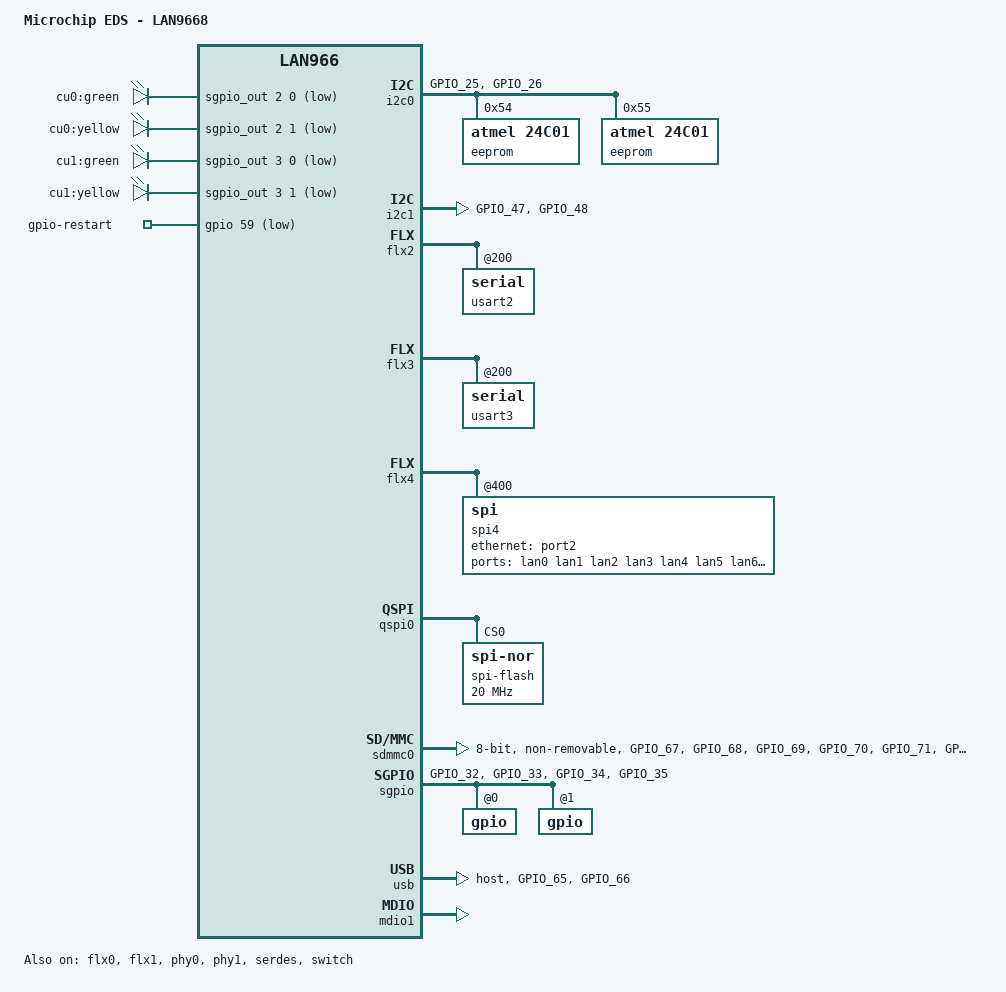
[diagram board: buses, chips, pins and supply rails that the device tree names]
// SPDX-License-Identifier: (GPL-2.0+ OR MIT)
/*
 * lan966x-pcb8385-lan9645x.dts - Device Tree file for LAN966X-PCB8385 board
 * driving Lan9645x on FPGA.
 *
 * Copyright (C) 2022 Microchip Technology Inc. and its subsidiaries
 *
 * Author: Horatiu Vultur <horatiu.vultur@microchip.com>
 * Author: Jerry Ray <jerry.ray@microchip.com>
 */
/dts-v1/;

#include "lan966x.dtsi"
#include "dt-bindings/phy/phy-lan966x-serdes.h"
#include "dt-bindings/phy/phy-lan9645x-serdes.h"

/ {
	model = "Microchip EDS - LAN9668";
	compatible = "microchip,lan9668-pcb8385", "microchip,lan9668", "microchip,lan966";

	lan9645x_clock: lan9645x-clock {
		compatible = "fixed-clock";
		#clock-cells = <0>;
		clock-frequency = <165625000>;
	};

	chosen {
		stdout-path = "serial0:115200n8";
	};

	aliases {
		serial0 = &usart3;
		serial1 = &usart2;
		i2c_sfp0 = &i2c_sfp0;
		i2c_sfp1 = &i2c_sfp1;
	};

	leds {
		compatible = "gpio-leds";

		led-p1-green {
			label = "cu0:green";
			gpios = <&sgpio_out 2 0 GPIO_ACTIVE_LOW>;
			default-state = "off";
			linux,default-trigger = "e200413c.mdio-mii:01:link";
		};

		led-p1-yellow {
			label = "cu0:yellow";
			gpios = <&sgpio_out 2 1 GPIO_ACTIVE_LOW>;
			default-state = "off";
		};

		led-p2-green {
			label = "cu1:green";
			gpios = <&sgpio_out 3 0 GPIO_ACTIVE_LOW>;
			default-state = "off";
			linux,default-trigger = "e200413c.mdio-mii:02:link";
		};

		led-p2-yellow {
			label = "cu1:yellow";
			gpios = <&sgpio_out 3 1 GPIO_ACTIVE_LOW>;
			default-state = "off";
		};
	};

	gpio-restart {
		compatible = "gpio-restart";
		gpios = <&gpio 59 GPIO_ACTIVE_LOW>;
		open-source;
		priority = <200>;
	};
};

&aes {
	status = "disabled"; /* Reserved by secure OS */
};

&gpio {
	emmc_sd_pins: emmc-sd-pins {
		/* eMMC_SD - CMD, CLK, D0, D1, D2, D3, RSTN */
		pins = "GPIO_67", "GPIO_68", "GPIO_69", "GPIO_70",
			"GPIO_71", "GPIO_72", "GPIO_77";
		function = "emmc_sd";
	};

	emmc_pins: emmc-pins {
		/* eMMC - D4, D5, D6, D7 */
		pins = "GPIO_73", "GPIO_74", "GPIO_75", "GPIO_76";
		function = "emmc";
	};

	fc0_b_pins: fc0-b-pins {
		/* SCL, SDA */
		pins = "GPIO_25", "GPIO_26";
		function = "fc0_b";
	};

	fc1_c_pins: fc1-c-pins {
		/* SCL, SDA */
		pins = "GPIO_47", "GPIO_48";
		function = "fc1_c";
	};

	fc2_b_pins: fc2-b-pins {
		/* RX, TX */
		pins = "GPIO_44", "GPIO_45";
		function = "fc2_b";
	};

	fc3_b_pins: fc3-b-pins {
		/* RX, TX */
		pins = "GPIO_52", "GPIO_53";
		function = "fc3_b";
	};

	fc4_b_pins: fc4-b-pins {
		/* SCK, MISO, MOSI */
		pins = "GPIO_56", "GPIO_57", "GPIO_58";
		function = "fc4_b";
	};

	fc_shrd13_pins: fc-shrd13-pins {
		pins = "GPIO_62";
		function = "fc_shrd13";
	};

    fc_shrd7_pins: fc-shrd7-pins {
        pins = "GPIO_49";
		function = "fc_shrd7";
    };

	sgpio_a_pins: sgpio-a-pins {
		/* SCK, D0, D1, LD */
		pins = "GPIO_32", "GPIO_33", "GPIO_34", "GPIO_35";
		function = "sgpio_a";
	};

	usb_host_a_pins: usb_host_a_pins {
		pins = "GPIO_65", "GPIO_66";
		function = "usb_host_a";
	};

	lan9645x_irq_pins: lan9645x-irq-pins {
		pins = "GPIO_54";
		function = "irq_in_b";
	};

	miim_a_pins: mdio-pins {
		/* MDC, MDIO */
		pins =  "GPIO_28", "GPIO_29";
		function = "miim_a";
	};
};

&flx0 {
	atmel,flexcom-mode = <ATMEL_FLEXCOM_MODE_TWI>;
	status = "okay";

	i2c0: i2c@600 {
		pinctrl-0 = <&fc0_b_pins>;
		pinctrl-names = "default";
		dmas = <0>, <0>;
		i2c-analog-filter;
		i2c-digital-filter;
		i2c-digital-filter-width-ns = <35>;
		i2c-sda-hold-time-ns = <1500>;
		status = "okay";
	};
};

&flx1 {
	atmel,flexcom-mode = <ATMEL_FLEXCOM_MODE_TWI>;
	status = "okay";

	i2c1: i2c@600 {
		pinctrl-0 = <&fc1_c_pins>;
		pinctrl-names = "default";
		dmas = <0>, <0>;
		i2c-analog-filter;
		i2c-digital-filter;
		i2c-digital-filter-width-ns = <35>;
		i2c-sda-hold-time-ns = <1500>;
		status = "okay";
	};
};

&flx2 {
	atmel,flexcom-mode = <ATMEL_FLEXCOM_MODE_USART>;
	status = "okay";

	usart2: serial@200 {
		pinctrl-0 = <&fc2_b_pins>;
		pinctrl-names = "default";
		status = "okay";
	};
};

&flx3 {
	atmel,flexcom-mode = <ATMEL_FLEXCOM_MODE_USART>;
	status = "okay";

	usart3: serial@200 {
		pinctrl-0 = <&fc3_b_pins>;
		pinctrl-names = "default";
		status = "okay";
	};
};

&flx4 {
	atmel,flexcom-mode = <ATMEL_FLEXCOM_MODE_SPI>;
	status = "okay";

	spi4: spi@400 {
		clock-names = "spi_clk";
		pinctrl-0 = <&fc4_b_pins>, <&fc_shrd7_pins>;
		pinctrl-names = "default";
		cs-gpios = <&gpio 49 GPIO_ACTIVE_LOW>;
		dmas = <0>, <0>;
		status = "okay";

		lan9645x_soc: soc@0 {
			compatible = "microchip,lan9645x-spi";
			spi-max-frequency = <35000000>;
			reg = <0>;
			#address-cells = <1>;
			#size-cells = <1>;

			lan9645x_i2c0: i2c@4c0000 {
				reg = <0x4c0000 0x400>;
				compatible = "mchp,lan9645x-i2c";
				pinctrl-0 = <&lan9645x_i2c0_pins_sda>;
				pinctrl-names = "default";
				#address-cells = <1>;
				#size-cells = <0>;
				interrupt-parent = <&lan9645x_irq>;
				interrupts = <&lan9645x_irq 9>;
				i2c-sda-hold-time-ns = <300>;
				clock-frequency = <100000>;
				clocks = <&lan9645x_clock>;
			};

			i2c-mux {
				compatible = "i2c-mux-pinctrl";
				#address-cells = <1>;
				#size-cells = <0>;
				i2c-parent = <&lan9645x_i2c0>;
				pinctrl-names = "i2c_sfp0", "i2c_sfp1", "idle";
				pinctrl-0 = <&lan9645x_i2c0_pins_scl0>;
				pinctrl-1 = <&lan9645x_i2c0_pins_scl1>;
				pinctrl-2 = <&lan9645x_i2cmux_pins>;

				i2c_sfp0: i2c-sfp@0 {
					reg = <0>;
					#address-cells = <1>;
					#size-cells = <0>;
				};

				i2c_sfp1: i2c-sfp@1 {
					reg = <1>;
					#address-cells = <1>;
					#size-cells = <0>;
				};
			};

			lan_sfp0: lan9645x-sfp0 {
				compatible = "sff,sfp";
				i2c-bus = <&i2c_sfp0>;
				pinctrl-names = "default";

				tx-disable-gpios   = <&gpio_lan9645x 11 GPIO_ACTIVE_HIGH>;
				mod-def0-gpios     = <&gpio_lan9645x 29 GPIO_ACTIVE_LOW>;
				los-gpios          = <&gpio_lan9645x 42 GPIO_ACTIVE_HIGH>;
				rate-select0-gpios = <&gpio_lan9645x 39 GPIO_ACTIVE_HIGH>;

			};

			lan_sfp1: lan9645x-sfp1 {
				compatible = "sff,sfp";
				i2c-bus = <&i2c_sfp1>;
				pinctrl-names = "default";

				tx-disable-gpios   = <&gpio_lan9645x 44 GPIO_ACTIVE_HIGH>;
				mod-def0-gpios     = <&gpio_lan9645x 28 GPIO_ACTIVE_LOW>;
				los-gpios          = <&gpio_lan9645x 8 GPIO_ACTIVE_HIGH>;
				rate-select0-gpios = <&gpio_lan9645x 12 GPIO_ACTIVE_HIGH>;
			};

			mdio@4098 { // miim0
				reg = <0x4098 0x28>;
				compatible = "microchip,lan966x-miim";
				#address-cells = <1>;
				#size-cells = <0>;
				pinctrl-names = "default";
				pinctrl-0 = <&rgmii0_pins>;

				sw_phy7: ethernet-phy@0 {
					reg = <0>;
					status = "disabled";
				};

				sw_phy8: ethernet-phy@1 {
					reg = <1>;
					status = "disabled";
				};

				sw_phy5: ethernet-phy@2 {
					reg = <2>;
					status = "disabled";
				};

				sw_phy6: ethernet-phy@3 {
					reg = <3>;
					status = "disabled";
				};
			};

			mdio@40bc { // miim1
				reg = <0x40bc 0x28>;
				compatible = "microchip,lan966x-miim";
				#address-cells = <1>;
				#size-cells = <0>;

				sw_phy0: ethernet-phy@1 {
					reg = <0x1>;
					interrupts-extended = <&lan9645x_irq 12>;
				};

				sw_phy1: ethernet-phy@2 {
					reg = <0x2>;
					interrupts-extended = <&lan9645x_irq 13>;
				};

				sw_phy2: ethernet-phy@3 {
					reg = <0x3>;
					interrupts-extended = <&lan9645x_irq 14>;
				};

				sw_phy3: ethernet-phy@4 {
					reg = <0x4>;
					interrupts-extended = <&lan9645x_irq 15>;
				};

				sw_phy4: ethernet-phy@5 {
					reg = <0x5>;
					status = "disabled";
					interrupts-extended = <&lan9645x_irq 16>;
				};

			};

			lan9645x_irq: lan9645x_irq@52001c {
				compatible = "microchip,lan9645x-oic";
				reg = <0 0>;
				pinctrl-names = "default";
				pinctrl-0 = <&irq_pins>;
				// dst=2 is external IRQ0
				microchip,dst_target = <2>;
				microchip,drv_mode   = <1>;
				interrupt-controller;
				#interrupt-cells = <1>;
				interrupt-parent = <&gpio>;
				interrupts-extended = <&gpio 24 IRQ_TYPE_LEVEL_LOW>;
				interrupt-names = "external-irq";
			};

			// See *bindings/net/dsa.yaml
			// See *bindings/net/dsa-port.yaml
			lan9645x: ethernet-switch@1 {
				compatible = "microchip,lan9645x-switch";
				reg = <0 0>;
				interrupts-extended = <&lan9645x_irq 27>, <&lan9645x_irq 26>;
				interrupt-names = "lan9645x-ptp", "lan9645x-ptp-ext";
				pinctrl-0 = <&lan9645x_leds>, <&lan9645x_ptp1_pins>, <&lan9645x_ptp2_pins>;
				pinctrl-names = "default";
				ethernet-ports {
					#address-cells = <1>;
					#size-cells = <0>;

					port@0 {
						reg = <0>;
						label = "lan0";
						phy-mode = "gmii";
						phy-handle = <&sw_phy0>;
						phys = <&lan9645x_serdes 0 LAN9645X_CU(0)>;
					};

					port@1 {
						reg = <1>;
						label = "lan1";
						phy-mode = "gmii";
						phy-handle = <&sw_phy1>;
						phys = <&lan9645x_serdes 1 LAN9645X_CU(1)>;
						microchip,led-drive_mode = <1 3>;
					};

					port@2 {
						reg = <2>;
						label = "lan2";
						phy-mode = "gmii";
						phy-handle = <&sw_phy2>;
						phys = <&lan9645x_serdes 2 LAN9645X_CU(2)>;
					};

					port@3 {
						reg = <3>;
						label = "lan3";
						phy-mode = "gmii";
						phy-handle = <&sw_phy3>;
						phys = <&lan9645x_serdes 3 LAN9645X_CU(3)>;
					};

					port@4 {
						reg = <4>;
						label = "lan4";
						status = "disabled";
						phy-mode = "gmii";
						phy-handle = <&sw_phy4>;
						phys = <&lan9645x_serdes 4 LAN9645X_CU(4)>;
					};

					port@5 {
						reg = <5>;
						label = "lan5";
						phys = <&lan9645x_serdes 5 LAN9645X_SERDES6G(0)>;
						phy-mode = "sgmii";
						managed = "in-band-status";
						sfp = <&lan_sfp0>;
					};

					port@6 {
						reg = <6>;
						label = "lan6";
						phy-mode = "sgmii";
						managed = "in-band-status";
						phys = <&lan9645x_serdes 6 LAN9645X_SERDES6G(1)>;
						sfp = <&lan_sfp1>;
					};

					port@7 {
						reg = <7>;
						label = "lan7";
						//phy-handle = <&sw_phy7>;
						phy-mode = "rgmii-id";
						phys = <&lan9645x_serdes 7 LAN9645X_RGMII(0)>;
						status = "ok";
						ethernet = <&port2>;
						fixed-link {
							speed = <1000>;
							full-duplex;
							pause;
						};
					};

					port@8 {
						reg = <8>;
						label = "lan8";
						phy-handle = <&sw_phy8>;
						phy-mode = "rgmii-id";
						phys = <&lan9645x_serdes 8 LAN9645X_RGMII(1)>;
						status = "disabled";
					};
				};
			};

			gpio_lan9645x: pinctrl@4028 {
				compatible = "microchip,lan9645x-pinctrl";
				reg = <0x4028 0x6c>;
				gpio-controller;
				#gpio-cells = <2>;
				gpio-ranges = <&gpio_lan9645x 0 0 51>;

				interrupt-controller;
				interrupt-parent = <&lan9645x_irq>;
				interrupts = <&lan9645x_irq 18>;
				#interrupt-cells = <2>;

				irq_pins: irq-pins {
					pins = "GPIO_33";
					function = "irq0";
				};

				rgmii0_pins: rgmii0-pins {
					pins = "GPIO_16","GPIO_17","GPIO_18","GPIO_19","GPIO_20","GPIO_21","GPIO_22","GPIO_23","GPIO_24","GPIO_25","GPIO_26","GPIO_27";
					function = "rgmii";
				};

				lan9645x_i2c0_pins_sda: lan9645x-i2c0-pins-sda {
					pins = "GPIO_30";
					function = "i2c";
				};

				lan9645x_i2c0_pins_scl0: lan9645x-i2c0-pins-scl0 {
					pins = "GPIO_31";
					function = "twi_scl_m";
					output-high;
				};

				lan9645x_i2c0_pins_scl1: lan9645x-i2c0-pins-scl1 {
					pins = "GPIO_32";
					function = "twi_scl_m";
					output-high;
				};

				lan9645x_i2cmux_pins: lan9645x-i2cmux-pins {
					pins = "GPIO_31","GPIO_32";
					function = "gpio";
					output-low;
				};

				lan9645x_leds: lan9645x-leds {
					pins = "GPIO_49", "GPIO_43", "GPIO_47", "GPIO_48", "GPIO_46", "GPIO_38", "GPIO_37", "GPIO_36";
					function = "phy_led";
				};

				lan9645x_ptp1_pins: lan9645x-ptp1-pins {
					pins = "GPIO_13";
					function = "ptp1";
				};

				lan9645x_ptp2_pins: lan9645x-ptp2-pins {
					pins = "GPIO_14";
					function = "ptp2";
				};
			};

			lan9645x_sgpio: gpio@40d4 {
				compatible = "microchip,lan9645x-sgpio";
				reg = <0x40d4 0x46>;
				#address-cells = <1>;
				#size-cells = <0>;
				clocks = <&lan9645x_clock>;
				status = "disabled";
				//pinctrl-names = "default";
				//pinctrl-0 = <&sgpio_pins>;
				microchip,sgpio-port-ranges = <5 6>;
				bus-frequency = <1000000>;

				sgpio_lan9645x_in: gpio@0 {
					compatible = "microchip,sparx5-sgpio-bank";
					reg = <0>;
					gpio-controller;
					#gpio-cells = <3>;
					ngpios = <128>;
				};

				sgpio_lan9645x_out: gpio@1 {
					compatible = "microchip,sparx5-sgpio-bank";
					reg = <1>;
					gpio-controller;
					#gpio-cells = <3>;
					ngpios = <128>;
				};
			};

			lan9645x_serdes: serdes@b0000 {
				compatible = "microchip,lan9645x-serdes";
				reg = <0xb0000 0x390>;
				#phy-cells = <2>;
				status = "okay";
			};

		};
	};
};

&i2c0 {
	eeprom@54 {
		compatible = "atmel,24c01";
		reg = <0x54>;
		status = "okay";
	};

	eeprom@55 {
		compatible = "atmel,24c01";
		reg = <0x55>;
		status = "okay";
	};

	/* UCS2113 at 0x57 */
};

&qspi0 {
	status = "okay";

	spi-flash@0 {
		compatible = "jedec,spi-nor";
		reg = <0>;
		spi-max-frequency = <20000000>;
		#address-cells = <1>;
		#size-cells = <1>;
		spi-tx-bus-width = <4>;
		spi-rx-bus-width = <4>;
		m25p,fast-read;
	};
};

&sdmmc0 {
	bus-width = <8>;
	cap-mmc-highspeed;
	cap-mmc-hw-reset;
	non-removable;
	pinctrl-0 = <&emmc_sd_pins>, <&emmc_pins>;
	pinctrl-names = "default";
	no-1-8-v;
	mmc-ddr-3_3v;
	tx-phase = <0>; /* 180 degrees phase shift */
	status = "okay";
};

&sgpio {
	pinctrl-0 = <&sgpio_a_pins>;
	pinctrl-names = "default";
	microchip,sgpio-port-ranges = <0 3>;
	status = "okay";

	gpio@0 {
		ngpios = <64>;
	};
	gpio@1 {
		ngpios = <64>;
	};
};

&usb {
	dr_mode = "host";
	pinctrl-0 = <&usb_host_a_pins>;
	pinctrl-names = "default";
	status = "okay";
};

&mdio0 {
	pinctrl-0 = <&miim_a_pins>;
	pinctrl-names = "default";
	status = "disabled";
};

&mdio1 {
	status = "okay";
};

&phy0 {
	status = "okay";
};

&phy1 {
	status = "okay";
};

&port0 {
	phy-handle = <&phy0>;
	phy-mode = "gmii";
	phys = <&serdes 0 CU(0)>;
	status = "okay";
};

&port1 {
	phy-handle = <&phy1>;
	phy-mode = "gmii";
	phys = <&serdes 1 CU(1)>;
	status = "okay";
};

&port2 {
	reg = <2>;
	status = "okay";
	phy-mode = "rgmii";
	phys = <&serdes 2 RGMII(0)>;

	fixed-link {
		speed = <1000>;
		full-duplex;
		pause;
	};
};

&serdes {
	status = "okay";
};

&switch {
	status = "okay";
};
